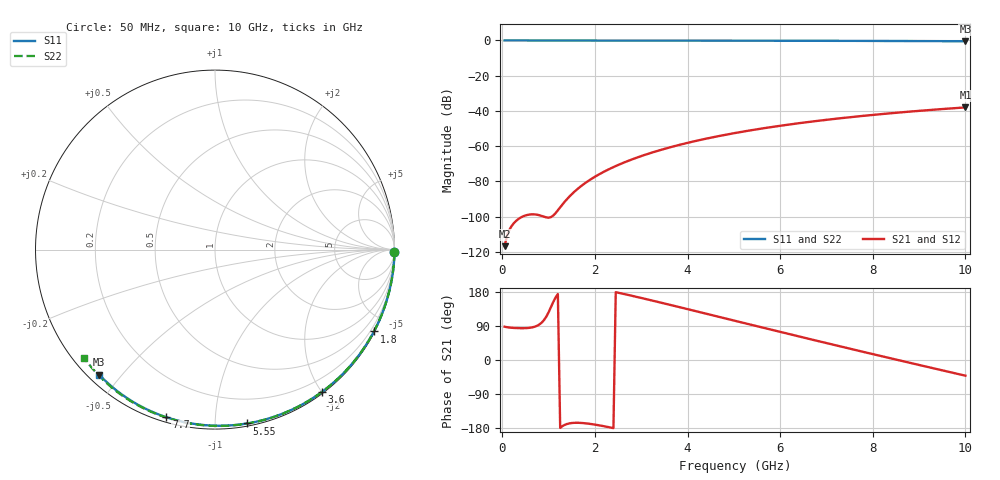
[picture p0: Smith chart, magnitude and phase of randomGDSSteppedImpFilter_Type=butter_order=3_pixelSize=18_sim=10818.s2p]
! freq	dB(S11)	phase(S11)	dB(S12)	phase(S12)
!  dB(S21)	phase(S21)	dB(S22)	phase(S22)
!S-par simulation data
#  GHz  S  DB  R 50
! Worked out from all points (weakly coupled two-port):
!   200 points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, 50 MHz to 10 GHz, reference 50 ohm
!   highest |S21| = -38.02 dB at 10 GHz (marker M1); lowest = -116.8 dB at 50 MHz (marker M2)
!   lowest |S11| = -0.4 dB at 10 GHz (marker M3), VSWR 38.74, Z = 1.54 - j21.8 ohm
!   |S11| at or under -10 dB: nowhere
!   |S22| runs from -0.5 to 0.0 dB; largest |S21 - S12| = 0
!   S11 on the Smith chart (normalised r, x): 50 MHz: open; 1.8 GHz: 0.04, -4.13; 3.6 GHz: 0.02, -2.00; 5.55 GHz: 0.02, -1.20; 7.7 GHz: 0.02, -0.75; 10 GHz: 0.03, -0.44
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0.05  -0.00 -0.8  -116.83 87.9  -116.83 87.9  -0.00 -0.8
0.45  -0.01 -6.9  -99.88 83.9  -99.88 83.9  -0.01 -7.3
0.9  -0.02 -13.7  -100.09 105.2  -100.09 105.2  -0.02 -14.5
1.75  -0.03 -26.5  -81.75 -166.5  -81.75 -166.5  -0.04 -28.0
1.8  -0.03 -27.2  -80.80 -167.1  -80.80 -167.1  -0.04 -28.8
1.85  -0.04 -28.0  -79.90 -167.8  -79.90 -167.8  -0.04 -29.5
2  -0.04 -30.2  -77.40 -170.5  -77.40 -170.5  -0.04 -31.9
2.15  -0.04 -32.4  -75.17 -173.7  -75.17 -173.7  -0.04 -34.2
2.35  -0.05 -35.3  -72.52 -178.5  -72.52 -178.5  -0.05 -37.3
2.55  -0.05 -38.2  -70.17 176.3  -70.17 176.3  -0.05 -40.4
2.95  -0.06 -44.0  -66.12 165.2  -66.12 165.2  -0.06 -46.4
3.4  -0.07 -50.4  -62.33 152.1  -62.33 152.1  -0.07 -53.2
3.6  -0.07 -53.2  -60.84 146.2  -60.84 146.2  -0.08 -56.1
4.3  -0.09 -62.9  -56.35 125.3  -56.35 125.3  -0.09 -66.3
5.05  -0.11 -73.0  -52.45 102.7  -52.45 102.7  -0.12 -76.9
5.55  -0.13 -79.5  -50.24 87.7  -50.24 87.7  -0.14 -83.7
6.1  -0.15 -86.5  -48.08 71.3  -48.08 71.3  -0.16 -91.1
6.7  -0.18 -94.0  -46.01 53.5  -46.01 53.5  -0.19 -99.0
7.7  -0.24 -106.1  -43.07 24.2  -43.07 24.2  -0.26 -111.8
8.35  -0.29 -113.8  -41.43 5.5  -41.43 5.5  -0.31 -119.9
9.2  -0.36 -123.7  -39.55 -18.8  -39.55 -18.8  -0.39 -130.4
10  -0.45 -132.8  -38.02 -41.4  -38.02 -41.4  -0.47 -140.3
